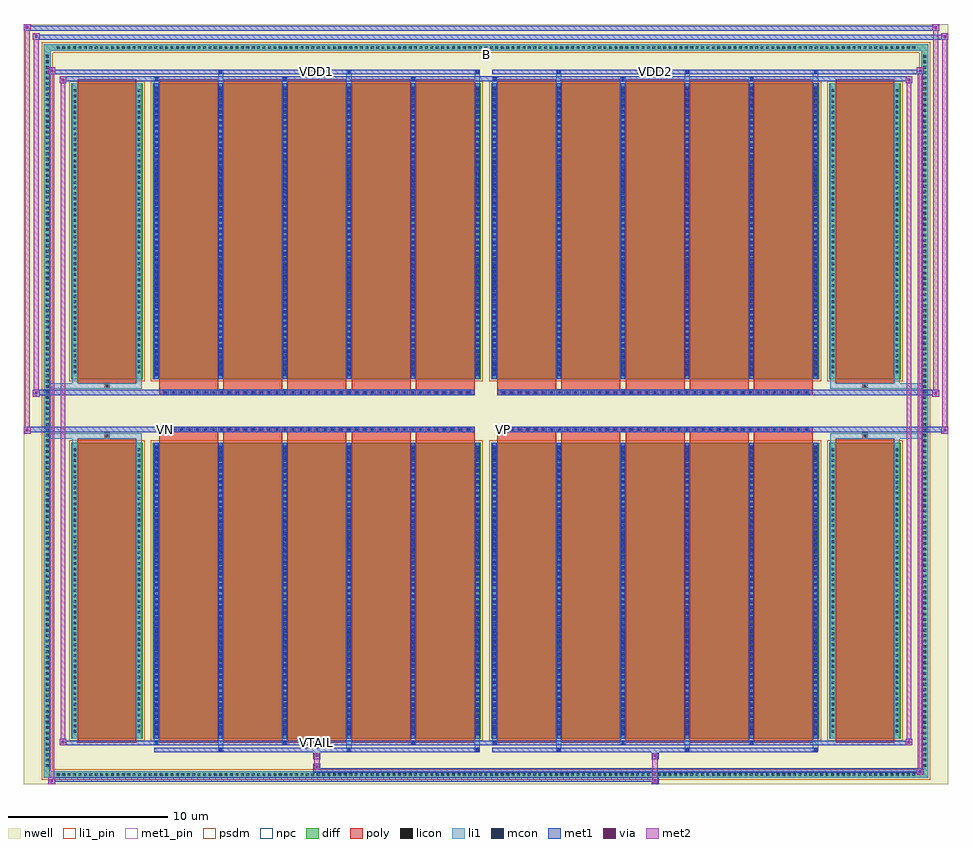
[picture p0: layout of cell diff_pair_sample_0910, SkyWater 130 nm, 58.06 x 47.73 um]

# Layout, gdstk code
import gdstk
lib = gdstk.Library(unit=1e-6, precision=5e-09)
def R(c, l, rs):  # rectangles x0, y0, x1, y1
    for r in rs: c.add(gdstk.rectangle(r[:2], r[2:], *l))
def A(c, l, x, y, w, h, nx, ny, dx, dy):  # array of equal rectangles
    R(c, l, [(x+i*dx, y+j*dy, x+i*dx+w, y+j*dy+h) for i in range(nx) for j in range(ny)])
def P(c, l, *ps):  # polygons
    for p in ps: c.add(gdstk.Polygon(p, *l))
nwell = (64, 20)
diff = (65, 20)
poly = (66, 20)
licon = (66, 44)
li1_pin = (67, 16)
li1 = (67, 20)
mcon = (67, 44)
met1_pin = (68, 16)
met1 = (68, 20)
via = (68, 44)
met2 = (69, 20)
psdm = (94, 20)
npc = (95, 20)

diff_pair_sample_0910 = lib.new_cell('diff_pair_sample_0910')
R(diff_pair_sample_0910, nwell, [(-29.03,-23.43,29.03,24.3), (-26.35,-21.62,-0.01,-0.8), (0.01,-21.62,26.35,-0.8), (-26.35,0.8,-0.01,21.62), (0.01,0.8,26.35,21.62)])
A(diff_pair_sample_0910, diff, -27.065, -23.03, 0.41, 0.41, 159, 2, 0.34, 45.65)
A(diff_pair_sample_0910, diff, -27.76, -22.475, 0.41, 0.41, 1, 132, 0, 0.34)
A(diff_pair_sample_0910, diff, 27.35, -22.475, 0.41, 0.41, 1, 132, 0, 0.34)
R(diff_pair_sample_0910, diff, [(-27.065,-23.03,27.065,-22.62), (-27.76,-22.475,-27.35,22.475), (27.35,-22.475,27.76,22.475), (-26.04,-20.575,-21.56,-1.985), (-20.92,-20.575,-0.32,-1.985), (0.32,-20.575,20.92,-1.985), (21.56,-20.575,26.04,-1.985), (-26.04,1.985,-21.56,20.575), (-20.92,1.985,-0.32,20.575), (0.32,1.985,20.92,20.575), (21.56,1.985,26.04,20.575), (-27.065,22.62,27.065,23.03)])
P(diff_pair_sample_0910, diff, [(27.76,23.03),(-27.76,23.03),(-27.76,-22.62),(-27.35,-22.62),(-27.35,22.62),(27.35,22.62),(27.35,-22.62),(-27.35,-22.62),(-27.76,-22.62),(-27.76,-23.03),(27.76,-23.03)])
A(diff_pair_sample_0910, poly, -20.53, -20.825, 3.7, 19.09, 5, 2, 4.03, 22.56)
A(diff_pair_sample_0910, poly, 0.71, -20.825, 3.7, 19.09, 5, 2, 4.03, 22.56)
A(diff_pair_sample_0910, poly, -20.53, -1.735, 3.7, 0.405, 5, 2, 4.03, 3.065)
A(diff_pair_sample_0910, poly, 0.71, -1.735, 3.7, 0.405, 5, 2, 4.03, 3.065)
A(diff_pair_sample_0910, poly, -20.285, -1.33, 0.33, 0.33, 39, 2, 0.5, 2.33)
A(diff_pair_sample_0910, poly, 0.955, -1.33, 0.33, 0.33, 39, 2, 0.5, 2.33)
R(diff_pair_sample_0910, poly, [(-25.65,-20.825,-21.95,-1.735), (21.95,-20.825,25.65,-1.735), (-23.965,-1.735,-23.635,-1.405), (-23.965,-1.735,-23.635,-1.405), (23.635,-1.735,23.965,-1.405), (23.635,-1.735,23.965,-1.405), (-20.53,-1.33,-0.71,-1), (0.71,-1.33,20.53,-1), (-20.53,1,-0.71,1.33), (0.71,1,20.53,1.33), (-23.965,1.405,-23.635,1.735), (-23.965,1.405,-23.635,1.735), (23.635,1.405,23.965,1.735), (23.635,1.405,23.965,1.735), (-25.65,1.735,-21.95,20.825), (21.95,1.735,25.65,20.825)])
A(diff_pair_sample_0910, licon, -26.945, -22.91, 0.17, 0.17, 159, 2, 0.34, 45.65)
A(diff_pair_sample_0910, licon, -27.64, -22.355, 0.17, 0.17, 1, 132, 0, 0.34)
A(diff_pair_sample_0910, licon, 27.47, -22.355, 0.17, 0.17, 1, 132, 0, 0.34)
A(diff_pair_sample_0910, licon, -25.9, -20.205, 0.17, 0.17, 1, 53, 0, 0.34)
A(diff_pair_sample_0910, licon, -21.87, -20.205, 0.17, 0.17, 1, 53, 0, 0.34)
A(diff_pair_sample_0910, licon, -20.78, -20.205, 0.17, 0.17, 6, 53, 4.03, 0.34)
A(diff_pair_sample_0910, licon, 0.46, -20.205, 0.17, 0.17, 6, 53, 4.03, 0.34)
A(diff_pair_sample_0910, licon, 21.7, -20.205, 0.17, 0.17, 1, 53, 0, 0.34)
A(diff_pair_sample_0910, licon, 25.73, -20.205, 0.17, 0.17, 1, 53, 0, 0.34)
A(diff_pair_sample_0910, licon, -20.205, -1.25, 0.17, 0.17, 39, 2, 0.5, 2.33)
A(diff_pair_sample_0910, licon, 1.035, -1.25, 0.17, 0.17, 39, 2, 0.5, 2.33)
A(diff_pair_sample_0910, licon, -25.9, 2.355, 0.17, 0.17, 1, 53, 0, 0.34)
A(diff_pair_sample_0910, licon, -21.87, 2.355, 0.17, 0.17, 1, 53, 0, 0.34)
A(diff_pair_sample_0910, licon, -20.78, 2.355, 0.17, 0.17, 6, 53, 4.03, 0.34)
A(diff_pair_sample_0910, licon, 0.46, 2.355, 0.17, 0.17, 6, 53, 4.03, 0.34)
A(diff_pair_sample_0910, licon, 21.7, 2.355, 0.17, 0.17, 1, 53, 0, 0.34)
A(diff_pair_sample_0910, licon, 25.73, 2.355, 0.17, 0.17, 1, 53, 0, 0.34)
R(diff_pair_sample_0910, licon, [(-23.885,-1.655,-23.715,-1.485), (23.715,-1.655,23.885,-1.485), (-23.885,1.485,-23.715,1.655), (23.715,1.485,23.885,1.655)])
R(diff_pair_sample_0910, li1_pin, [(-0.25,22.12,0.25,22.62)])
A(diff_pair_sample_0910, li1, -27.025, -22.99, 0.33, 0.33, 159, 2, 0.34, 45.65)
A(diff_pair_sample_0910, li1, -27.72, -22.435, 0.33, 0.33, 1, 132, 0, 0.34)
A(diff_pair_sample_0910, li1, 27.39, -22.435, 0.33, 0.33, 1, 132, 0, 0.34)
A(diff_pair_sample_0910, li1, -16.83, -21.38, 0.33, 0.805, 3, 2, 8.06, 41.955)
A(diff_pair_sample_0910, li1, -16.75, -21.38, 0.17, 0.17, 3, 2, 8.06, 42.59)
A(diff_pair_sample_0910, li1, 4.41, -21.38, 0.33, 0.805, 3, 2, 8.06, 41.955)
A(diff_pair_sample_0910, li1, 4.49, -21.38, 0.17, 0.17, 3, 2, 8.06, 42.59)
A(diff_pair_sample_0910, li1, -20.86, -20.95, 0.33, 0.375, 3, 2, 8.06, 41.525)
A(diff_pair_sample_0910, li1, -20.78, -20.95, 0.17, 0.17, 3, 2, 8.06, 41.73)
A(diff_pair_sample_0910, li1, 0.38, -20.95, 0.33, 0.375, 3, 2, 8.06, 41.525)
A(diff_pair_sample_0910, li1, 0.46, -20.95, 0.17, 0.17, 3, 2, 8.06, 41.73)
A(diff_pair_sample_0910, li1, -20.86, -20.575, 0.33, 18.59, 6, 2, 4.03, 22.56)
A(diff_pair_sample_0910, li1, 0.38, -20.575, 0.33, 18.59, 6, 2, 4.03, 22.56)
A(diff_pair_sample_0910, li1, -20.78, -20.365, 0.17, 0.17, 6, 51, 4.03, 0.36)
A(diff_pair_sample_0910, li1, -20.78, -20.365, 0.17, 18.17, 6, 2, 4.03, 22.56)
A(diff_pair_sample_0910, li1, 0.46, -20.365, 0.17, 0.17, 6, 51, 4.03, 0.36)
A(diff_pair_sample_0910, li1, 0.46, -20.365, 0.17, 18.17, 6, 2, 4.03, 22.56)
A(diff_pair_sample_0910, li1, -25.98, -20.285, 0.33, 0.33, 1, 53, 0, 0.34)
A(diff_pair_sample_0910, li1, -21.95, -20.285, 0.33, 0.33, 1, 53, 0, 0.34)
A(diff_pair_sample_0910, li1, -20.86, -20.285, 0.33, 0.33, 6, 53, 4.03, 0.34)
A(diff_pair_sample_0910, li1, 0.38, -20.285, 0.33, 0.33, 6, 53, 4.03, 0.34)
A(diff_pair_sample_0910, li1, 21.62, -20.285, 0.33, 0.33, 1, 53, 0, 0.34)
A(diff_pair_sample_0910, li1, 25.65, -20.285, 0.33, 0.33, 1, 53, 0, 0.34)
A(diff_pair_sample_0910, li1, -20.285, -1.33, 0.33, 0.33, 39, 2, 0.5, 2.33)
A(diff_pair_sample_0910, li1, 0.955, -1.33, 0.33, 0.33, 39, 2, 0.5, 2.33)
A(diff_pair_sample_0910, li1, -20.78, 2.195, 0.17, 0.17, 6, 51, 4.03, 0.36)
A(diff_pair_sample_0910, li1, 0.46, 2.195, 0.17, 0.17, 6, 51, 4.03, 0.36)
A(diff_pair_sample_0910, li1, -25.98, 2.275, 0.33, 0.33, 1, 53, 0, 0.34)
A(diff_pair_sample_0910, li1, -21.95, 2.275, 0.33, 0.33, 1, 53, 0, 0.34)
A(diff_pair_sample_0910, li1, -20.86, 2.275, 0.33, 0.33, 6, 53, 4.03, 0.34)
A(diff_pair_sample_0910, li1, 0.38, 2.275, 0.33, 0.33, 6, 53, 4.03, 0.34)
A(diff_pair_sample_0910, li1, 21.62, 2.275, 0.33, 0.33, 1, 53, 0, 0.34)
A(diff_pair_sample_0910, li1, 25.65, 2.275, 0.33, 0.33, 1, 53, 0, 0.34)
R(diff_pair_sample_0910, li1, [(-27.76,-23.03,-27.35,-22.62), (-27.76,-23.03,-27.35,-22.62), (-27.35,-23.03,27.35,-22.62), (27.35,-23.03,27.76,-22.62), (27.35,-23.03,27.76,-22.62), (-27.76,-22.62,-27.35,22.62), (27.35,-22.62,27.76,22.62), (-25.98,-20.575,-25.65,-1.985), (-21.95,-20.575,-21.62,-1.985), (21.62,-20.575,21.95,-1.985), (25.65,-20.575,25.98,-1.985), (-25.98,-1.985,-25.65,-1.405), (-21.95,-1.985,-21.62,-1.405), (21.62,-1.985,21.95,-1.405), (25.65,-1.985,25.98,-1.405), (-27.76,-1.735,-23.965,-1.405), (-25.98,-1.735,-23.965,-1.405), (-23.965,-1.735,-23.635,-1.405), (-23.635,-1.735,-21.62,-1.405), (21.62,-1.735,23.635,-1.405), (23.635,-1.735,23.965,-1.405), (23.635,-1.735,27.76,-1.405), (23.965,-1.735,25.98,-1.405), (-27.76,1.405,-23.965,1.735), (-25.98,1.405,-23.965,1.735), (-25.98,1.405,-25.65,1.985), (-23.965,1.405,-23.635,1.735), (-23.635,1.405,-21.62,1.735), (-21.95,1.405,-21.62,1.985), (21.62,1.405,23.635,1.735), (21.62,1.405,21.95,1.985), (23.635,1.405,23.965,1.735), (23.635,1.405,27.76,1.735), (23.965,1.405,25.98,1.735), (25.65,1.405,25.98,1.985), (-25.98,1.985,-25.65,20.575), (-21.95,1.985,-21.62,20.575), (21.62,1.985,21.95,20.575), (25.65,1.985,25.98,20.575), (-27.76,22.62,-27.35,23.03), (-27.76,22.62,-27.35,23.03), (-27.35,22.62,27.35,23.03), (27.35,22.62,27.76,23.03), (27.35,22.62,27.76,23.03)])
A(diff_pair_sample_0910, mcon, -16.75, -21.38, 0.17, 0.17, 3, 2, 8.06, 42.59)
A(diff_pair_sample_0910, mcon, 4.49, -21.38, 0.17, 0.17, 3, 2, 8.06, 42.59)
A(diff_pair_sample_0910, mcon, -20.78, -20.95, 0.17, 0.17, 3, 2, 8.06, 41.73)
A(diff_pair_sample_0910, mcon, 0.46, -20.95, 0.17, 0.17, 3, 2, 8.06, 41.73)
A(diff_pair_sample_0910, mcon, -20.78, -20.365, 0.17, 0.17, 6, 51, 4.03, 0.36)
A(diff_pair_sample_0910, mcon, 0.46, -20.365, 0.17, 0.17, 6, 51, 4.03, 0.36)
A(diff_pair_sample_0910, mcon, -20.205, -1.25, 0.17, 0.17, 39, 2, 0.5, 2.33)
A(diff_pair_sample_0910, mcon, 1.035, -1.25, 0.17, 0.17, 39, 2, 0.5, 2.33)
A(diff_pair_sample_0910, mcon, -20.78, 2.195, 0.17, 0.17, 6, 51, 4.03, 0.36)
A(diff_pair_sample_0910, mcon, 0.46, 2.195, 0.17, 0.17, 6, 51, 4.03, 0.36)
R(diff_pair_sample_0910, met1_pin, [(-10.755,-20.99,-10.485,-20.72), (-20.255,-1.29,-19.985,-1.02), (0.985,-1.29,1.255,-1.02), (-10.755,21.17,-10.485,21.44), (10.485,21.17,10.755,21.44)])
A(diff_pair_sample_0910, met1, -16.81, -21.44, 0.29, 0.29, 3, 2, 8.06, 42.59)
A(diff_pair_sample_0910, met1, 4.43, -21.44, 0.29, 0.29, 3, 2, 8.06, 42.59)
A(diff_pair_sample_0910, met1, -20.84, -21.01, 0.29, 0.29, 3, 2, 8.06, 41.73)
A(diff_pair_sample_0910, met1, 0.4, -21.01, 0.29, 0.29, 3, 2, 8.06, 41.73)
A(diff_pair_sample_0910, met1, -20.84, -20.575, 0.29, 18.59, 6, 2, 4.03, 22.56)
A(diff_pair_sample_0910, met1, 0.4, -20.575, 0.29, 18.59, 6, 2, 4.03, 22.56)
A(diff_pair_sample_0910, met1, -20.84, -20.425, 0.29, 0.29, 6, 51, 4.03, 0.36)
A(diff_pair_sample_0910, met1, 0.4, -20.425, 0.29, 0.29, 6, 51, 4.03, 0.36)
A(diff_pair_sample_0910, met1, -20.265, -1.31, 0.29, 0.29, 39, 2, 0.5, 2.33)
A(diff_pair_sample_0910, met1, 0.975, -1.31, 0.29, 0.29, 39, 2, 0.5, 2.33)
A(diff_pair_sample_0910, met1, -20.84, 2.135, 0.29, 0.29, 6, 51, 4.03, 0.36)
A(diff_pair_sample_0910, met1, 0.4, 2.135, 0.29, 0.29, 6, 51, 4.03, 0.36)
R(diff_pair_sample_0910, met1, [(-27.49,-23.43,-27.06,-23), (10.405,-23.43,10.835,-23), (-27.49,-23.29,10.835,-23), (27.06,-22.86,27.49,-22.43), (-10.835,-22.72,27.49,-22.43), (-10.835,-22.58,-10.405,-22.15), (-10.835,-21.87,-10.405,-21.44), (10.405,-21.87,10.835,-21.44), (-20.84,-21.44,-0.4,-21.15), (0.4,-21.44,20.84,-21.15), (-26.78,-21.01,-26.35,-20.58), (-26.78,-21.01,-20.84,-20.72), (-20.84,-21.01,-0.4,-20.72), (-0.4,-21.01,0.4,-20.72), (0.4,-21.01,20.84,-20.72), (20.84,-21.01,26.78,-20.72), (26.35,-21.01,26.78,-20.58), (-29.03,-1.43,-28.6,-1), (28.6,-1.43,29.03,-1), (-29.03,-1.33,-0.71,-1), (-20.53,-1.33,-0.71,-1), (0.71,-1.33,20.53,-1), (0.71,-1.33,29.03,-1), (-28.46,0.9,-28.03,1.33), (28.03,0.9,28.46,1.33), (-28.46,1,-20.53,1.33), (-20.53,1,-0.71,1.33), (0.71,1,20.53,1.33), (20.53,1,28.46,1.33), (-26.78,20.58,-26.35,21.01), (26.35,20.58,26.78,21.01), (-26.78,20.72,-20.84,21.01), (-20.84,20.72,-0.4,21.01), (-0.4,20.72,0.4,21.01), (0.4,20.72,20.84,21.01), (20.84,20.72,26.78,21.01), (-27.49,21.15,-27.06,21.58), (-27.49,21.15,-20.84,21.44), (-20.84,21.15,-0.4,21.44), (0.4,21.15,20.84,21.44), (20.84,21.15,27.49,21.44), (27.06,21.15,27.49,21.58), (-28.46,23.3,-28.03,23.73), (-28.46,23.3,-26.35,23.63), (-26.35,23.3,26.35,23.63), (26.35,23.3,29.03,23.63), (28.6,23.3,29.03,23.73), (-29.03,23.87,-28.6,24.3), (-29.03,23.87,-26.35,24.2), (-26.35,23.87,26.35,24.2), (26.35,23.87,28.46,24.2), (28.03,23.87,28.46,24.3)])
R(diff_pair_sample_0910, via, [(-27.35,-23.29,-27.2,-23.14), (10.545,-23.29,10.695,-23.14), (27.2,-22.72,27.35,-22.57), (-10.695,-22.44,-10.545,-22.29), (-10.695,-21.73,-10.545,-21.58), (10.545,-21.73,10.695,-21.58), (-26.64,-20.87,-26.49,-20.72), (26.49,-20.87,26.64,-20.72), (-28.89,-1.29,-28.74,-1.14), (28.74,-1.29,28.89,-1.14), (-28.32,1.04,-28.17,1.19), (28.17,1.04,28.32,1.19), (-26.64,20.72,-26.49,20.87), (26.49,20.72,26.64,20.87), (-27.35,21.29,-27.2,21.44), (27.2,21.29,27.35,21.44), (-28.32,23.44,-28.17,23.59), (28.74,23.44,28.89,23.59), (-28.89,24.01,-28.74,24.16), (28.17,24.01,28.32,24.16)])
R(diff_pair_sample_0910, met2, [(-27.49,-23.43,-27.06,-23), (-27.42,-23.43,-27.13,21.58), (-27.13,-23.43,-27.06,-23), (-27.44,-23.38,-27.11,-23.05), (10.455,-23.38,10.785,-23.05), (10.455,-23.05,10.785,-21.82), (27.06,-22.86,27.49,-22.43), (27.13,-22.86,27.42,21.58), (27.42,-22.86,27.49,-22.43), (27.11,-22.81,27.44,-22.48), (-10.785,-22.53,-10.455,-22.2), (-10.785,-22.2,-10.455,-21.82), (-10.785,-21.82,-10.455,-21.49), (10.455,-21.82,10.785,-21.49), (-26.78,-21.01,-26.35,-20.58), (-26.71,-21.01,-26.42,21.01), (-26.42,-21.01,-26.35,-20.58), (26.35,-21.01,26.78,-20.58), (26.42,-21.01,26.71,21.01), (26.71,-21.01,26.78,-20.58), (-26.73,-20.96,-26.4,-20.63), (26.4,-20.96,26.73,-20.63), (-29.03,-1.43,-28.6,-1), (-28.98,-1.43,-28.65,24.3), (-28.65,-1.43,-28.6,-1), (28.6,-1.43,29.03,-1), (28.65,-1.43,28.98,23.73), (28.98,-1.43,29.03,-1), (-28.98,-1.38,-28.65,-1.05), (28.65,-1.38,28.98,-1.05), (-28.46,0.9,-28.03,1.33), (-28.41,0.9,-28.08,23.73), (-28.08,0.9,-28.03,1.33), (28.03,0.9,28.46,1.33), (28.08,0.9,28.41,24.3), (28.41,0.9,28.46,1.33), (-28.41,0.95,-28.08,1.28), (28.08,0.95,28.41,1.28), (-26.78,20.58,-26.35,21.01), (-26.42,20.58,-26.35,21.01), (26.35,20.58,26.78,21.01), (26.71,20.58,26.78,21.01), (-26.73,20.63,-26.4,20.96), (26.4,20.63,26.73,20.96), (-27.49,21.15,-27.06,21.58), (-27.13,21.15,-27.06,21.58), (27.06,21.15,27.49,21.58), (27.42,21.15,27.49,21.58), (-27.44,21.2,-27.11,21.53), (27.11,21.2,27.44,21.53), (-28.46,23.3,-28.03,23.73), (-28.08,23.3,-28.03,23.73), (28.6,23.3,29.03,23.73), (28.98,23.3,29.03,23.73), (-28.41,23.35,-28.08,23.68), (28.65,23.35,28.98,23.68), (-29.03,23.87,-28.6,24.3), (-28.65,23.87,-28.6,24.3), (28.03,23.87,28.46,24.3), (28.41,23.87,28.46,24.3), (-28.98,23.92,-28.65,24.25), (28.08,23.92,28.41,24.25)])
R(diff_pair_sample_0910, psdm, [(-26.17,-20.705,-21.43,-1.855), (-21.05,-20.705,-0.19,-1.855), (0.19,-20.705,21.05,-1.855), (21.43,-20.705,26.17,-1.855), (-26.17,1.855,-21.43,20.705), (-21.05,1.855,-0.19,20.705), (0.19,1.855,21.05,20.705), (21.43,1.855,26.17,20.705)])
P(diff_pair_sample_0910, psdm, [(27.89,23.16),(-27.89,23.16),(-27.89,-22.49),(-27.22,-22.49),(-27.22,22.49),(27.22,22.49),(27.22,-22.49),(-27.22,-22.49),(-27.89,-22.49),(-27.89,-23.16),(27.89,-23.16)])
A(diff_pair_sample_0910, npc, -20.305, -1.35, 0.37, 0.37, 39, 2, 0.5, 2.33)
A(diff_pair_sample_0910, npc, 0.935, -1.35, 0.37, 0.37, 39, 2, 0.5, 2.33)
R(diff_pair_sample_0910, npc, [(-23.985,-1.755,-23.615,-1.385), (23.615,-1.755,23.985,-1.385), (-20.305,-1.35,-19.435,-0.98), (-20.305,-1.35,-19.435,-0.98), (-19.805,-1.35,-18.935,-0.98), (-19.805,-1.35,-18.935,-0.98), (-19.305,-1.35,-18.435,-0.98), (-19.305,-1.35,-18.435,-0.98), (-18.805,-1.35,-17.935,-0.98), (-18.805,-1.35,-17.935,-0.98), (-18.305,-1.35,-17.435,-0.98), (-18.305,-1.35,-17.435,-0.98), (-17.805,-1.35,-16.935,-0.98), (-17.805,-1.35,-16.935,-0.98), (-17.305,-1.35,-16.435,-0.98), (-17.305,-1.35,-16.435,-0.98), (-16.805,-1.35,-15.935,-0.98), (-16.805,-1.35,-15.935,-0.98), (-16.305,-1.35,-15.435,-0.98), (-16.305,-1.35,-15.435,-0.98), (-15.805,-1.35,-14.935,-0.98), (-15.805,-1.35,-14.935,-0.98), (-15.305,-1.35,-14.435,-0.98), (-15.305,-1.35,-14.435,-0.98), (-14.805,-1.35,-13.935,-0.98), (-14.805,-1.35,-13.935,-0.98), (-14.305,-1.35,-13.435,-0.98), (-14.305,-1.35,-13.435,-0.98), (-13.805,-1.35,-12.935,-0.98), (-13.805,-1.35,-12.935,-0.98), (-13.305,-1.35,-12.435,-0.98), (-13.305,-1.35,-12.435,-0.98), (-12.805,-1.35,-11.935,-0.98), (-12.805,-1.35,-11.935,-0.98), (-12.305,-1.35,-11.435,-0.98), (-12.305,-1.35,-11.435,-0.98), (-11.805,-1.35,-10.935,-0.98), (-11.805,-1.35,-10.935,-0.98), (-11.305,-1.35,-10.435,-0.98), (-11.305,-1.35,-10.435,-0.98), (-10.805,-1.35,-9.935,-0.98), (-10.805,-1.35,-9.935,-0.98), (-10.305,-1.35,-9.435,-0.98), (-10.305,-1.35,-9.435,-0.98), (-9.805,-1.35,-8.935,-0.98), (-9.805,-1.35,-8.935,-0.98), (-9.305,-1.35,-8.435,-0.98), (-9.305,-1.35,-8.435,-0.98), (-8.805,-1.35,-7.935,-0.98), (-8.805,-1.35,-7.935,-0.98), (-8.305,-1.35,-7.435,-0.98), (-8.305,-1.35,-7.435,-0.98), (-7.805,-1.35,-6.935,-0.98), (-7.805,-1.35,-6.935,-0.98), (-7.305,-1.35,-6.435,-0.98), (-7.305,-1.35,-6.435,-0.98), (-6.805,-1.35,-5.935,-0.98), (-6.805,-1.35,-5.935,-0.98), (-6.305,-1.35,-5.435,-0.98), (-6.305,-1.35,-5.435,-0.98), (-5.805,-1.35,-4.935,-0.98), (-5.805,-1.35,-4.935,-0.98), (-5.305,-1.35,-4.435,-0.98), (-5.305,-1.35,-4.435,-0.98), (-4.805,-1.35,-3.935,-0.98), (-4.805,-1.35,-3.935,-0.98), (-4.305,-1.35,-3.435,-0.98), (-4.305,-1.35,-3.435,-0.98), (-3.805,-1.35,-2.935,-0.98), (-3.805,-1.35,-2.935,-0.98), (-3.305,-1.35,-2.435,-0.98), (-3.305,-1.35,-2.435,-0.98), (-2.805,-1.35,-1.935,-0.98), (-2.805,-1.35,-1.935,-0.98), (-2.305,-1.35,-1.435,-0.98), (-2.305,-1.35,-1.435,-0.98), (-1.805,-1.35,-0.935,-0.98), (-1.805,-1.35,-0.935,-0.98), (0.935,-1.35,1.805,-0.98), (0.935,-1.35,1.805,-0.98), (1.435,-1.35,2.305,-0.98), (1.435,-1.35,2.305,-0.98), (1.935,-1.35,2.805,-0.98), (1.935,-1.35,2.805,-0.98), (2.435,-1.35,3.305,-0.98), (2.435,-1.35,3.305,-0.98), (2.935,-1.35,3.805,-0.98), (2.935,-1.35,3.805,-0.98), (3.435,-1.35,4.305,-0.98), (3.435,-1.35,4.305,-0.98), (3.935,-1.35,4.805,-0.98), (3.935,-1.35,4.805,-0.98), (4.435,-1.35,5.305,-0.98), (4.435,-1.35,5.305,-0.98), (4.935,-1.35,5.805,-0.98), (4.935,-1.35,5.805,-0.98), (5.435,-1.35,6.305,-0.98), (5.435,-1.35,6.305,-0.98), (5.935,-1.35,6.805,-0.98), (5.935,-1.35,6.805,-0.98), (6.435,-1.35,7.305,-0.98), (6.435,-1.35,7.305,-0.98), (6.935,-1.35,7.805,-0.98), (6.935,-1.35,7.805,-0.98), (7.435,-1.35,8.305,-0.98), (7.435,-1.35,8.305,-0.98), (7.935,-1.35,8.805,-0.98), (7.935,-1.35,8.805,-0.98), (8.435,-1.35,9.305,-0.98), (8.435,-1.35,9.305,-0.98), (8.935,-1.35,9.805,-0.98), (8.935,-1.35,9.805,-0.98), (9.435,-1.35,10.305,-0.98), (9.435,-1.35,10.305,-0.98), (9.935,-1.35,10.805,-0.98), (9.935,-1.35,10.805,-0.98), (10.435,-1.35,11.305,-0.98), (10.435,-1.35,11.305,-0.98), (10.935,-1.35,11.805,-0.98), (10.935,-1.35,11.805,-0.98), (11.435,-1.35,12.305,-0.98), (11.435,-1.35,12.305,-0.98), (11.935,-1.35,12.805,-0.98), (11.935,-1.35,12.805,-0.98), (12.435,-1.35,13.305,-0.98), (12.435,-1.35,13.305,-0.98), (12.935,-1.35,13.805,-0.98), (12.935,-1.35,13.805,-0.98), (13.435,-1.35,14.305,-0.98), (13.435,-1.35,14.305,-0.98), (13.935,-1.35,14.805,-0.98), (13.935,-1.35,14.805,-0.98), (14.435,-1.35,15.305,-0.98), (14.435,-1.35,15.305,-0.98), (14.935,-1.35,15.805,-0.98), (14.935,-1.35,15.805,-0.98), (15.435,-1.35,16.305,-0.98), (15.435,-1.35,16.305,-0.98), (15.935,-1.35,16.805,-0.98), (15.935,-1.35,16.805,-0.98), (16.435,-1.35,17.305,-0.98), (16.435,-1.35,17.305,-0.98), (16.935,-1.35,17.805,-0.98), (16.935,-1.35,17.805,-0.98), (17.435,-1.35,18.305,-0.98), (17.435,-1.35,18.305,-0.98), (17.935,-1.35,18.805,-0.98), (17.935,-1.35,18.805,-0.98), (18.435,-1.35,19.305,-0.98), (18.435,-1.35,19.305,-0.98), (18.935,-1.35,19.805,-0.98), (18.935,-1.35,19.805,-0.98), (19.435,-1.35,20.305,-0.98), (19.435,-1.35,20.305,-0.98), (-20.305,0.98,-19.435,1.35), (-20.305,0.98,-19.435,1.35), (-19.805,0.98,-18.935,1.35), (-19.805,0.98,-18.935,1.35), (-19.305,0.98,-18.435,1.35), (-19.305,0.98,-18.435,1.35), (-18.805,0.98,-17.935,1.35), (-18.805,0.98,-17.935,1.35), (-18.305,0.98,-17.435,1.35), (-18.305,0.98,-17.435,1.35), (-17.805,0.98,-16.935,1.35), (-17.805,0.98,-16.935,1.35), (-17.305,0.98,-16.435,1.35), (-17.305,0.98,-16.435,1.35), (-16.805,0.98,-15.935,1.35), (-16.805,0.98,-15.935,1.35), (-16.305,0.98,-15.435,1.35), (-16.305,0.98,-15.435,1.35), (-15.805,0.98,-14.935,1.35), (-15.805,0.98,-14.935,1.35), (-15.305,0.98,-14.435,1.35), (-15.305,0.98,-14.435,1.35), (-14.805,0.98,-13.935,1.35), (-14.805,0.98,-13.935,1.35), (-14.305,0.98,-13.435,1.35), (-14.305,0.98,-13.435,1.35), (-13.805,0.98,-12.935,1.35), (-13.805,0.98,-12.935,1.35), (-13.305,0.98,-12.435,1.35), (-13.305,0.98,-12.435,1.35), (-12.805,0.98,-11.935,1.35), (-12.805,0.98,-11.935,1.35), (-12.305,0.98,-11.435,1.35), (-12.305,0.98,-11.435,1.35), (-11.805,0.98,-10.935,1.35), (-11.805,0.98,-10.935,1.35), (-11.305,0.98,-10.435,1.35), (-11.305,0.98,-10.435,1.35), (-10.805,0.98,-9.935,1.35), (-10.805,0.98,-9.935,1.35), (-10.305,0.98,-9.435,1.35), (-10.305,0.98,-9.435,1.35), (-9.805,0.98,-8.935,1.35), (-9.805,0.98,-8.935,1.35), (-9.305,0.98,-8.435,1.35), (-9.305,0.98,-8.435,1.35), (-8.805,0.98,-7.935,1.35), (-8.805,0.98,-7.935,1.35), (-8.305,0.98,-7.435,1.35), (-8.305,0.98,-7.435,1.35), (-7.805,0.98,-6.935,1.35), (-7.805,0.98,-6.935,1.35), (-7.305,0.98,-6.435,1.35), (-7.305,0.98,-6.435,1.35), (-6.805,0.98,-5.935,1.35), (-6.805,0.98,-5.935,1.35), (-6.305,0.98,-5.435,1.35), (-6.305,0.98,-5.435,1.35), (-5.805,0.98,-4.935,1.35), (-5.805,0.98,-4.935,1.35), (-5.305,0.98,-4.435,1.35), (-5.305,0.98,-4.435,1.35), (-4.805,0.98,-3.935,1.35), (-4.805,0.98,-3.935,1.35), (-4.305,0.98,-3.435,1.35), (-4.305,0.98,-3.435,1.35), (-3.805,0.98,-2.935,1.35), (-3.805,0.98,-2.935,1.35), (-3.305,0.98,-2.435,1.35), (-3.305,0.98,-2.435,1.35), (-2.805,0.98,-1.935,1.35), (-2.805,0.98,-1.935,1.35), (-2.305,0.98,-1.435,1.35), (-2.305,0.98,-1.435,1.35), (-1.805,0.98,-0.935,1.35), (-1.805,0.98,-0.935,1.35), (0.935,0.98,1.805,1.35), (0.935,0.98,1.805,1.35), (1.435,0.98,2.305,1.35), (1.435,0.98,2.305,1.35), (1.935,0.98,2.805,1.35), (1.935,0.98,2.805,1.35), (2.435,0.98,3.305,1.35), (2.435,0.98,3.305,1.35), (2.935,0.98,3.805,1.35), (2.935,0.98,3.805,1.35), (3.435,0.98,4.305,1.35), (3.435,0.98,4.305,1.35), (3.935,0.98,4.805,1.35), (3.935,0.98,4.805,1.35), (4.435,0.98,5.305,1.35), (4.435,0.98,5.305,1.35), (4.935,0.98,5.805,1.35), (4.935,0.98,5.805,1.35), (5.435,0.98,6.305,1.35), (5.435,0.98,6.305,1.35), (5.935,0.98,6.805,1.35), (5.935,0.98,6.805,1.35), (6.435,0.98,7.305,1.35), (6.435,0.98,7.305,1.35), (6.935,0.98,7.805,1.35), (6.935,0.98,7.805,1.35), (7.435,0.98,8.305,1.35), (7.435,0.98,8.305,1.35), (7.935,0.98,8.805,1.35), (7.935,0.98,8.805,1.35), (8.435,0.98,9.305,1.35), (8.435,0.98,9.305,1.35), (8.935,0.98,9.805,1.35), (8.935,0.98,9.805,1.35), (9.435,0.98,10.305,1.35), (9.435,0.98,10.305,1.35), (9.935,0.98,10.805,1.35), (9.935,0.98,10.805,1.35), (10.435,0.98,11.305,1.35), (10.435,0.98,11.305,1.35), (10.935,0.98,11.805,1.35), (10.935,0.98,11.805,1.35), (11.435,0.98,12.305,1.35), (11.435,0.98,12.305,1.35), (11.935,0.98,12.805,1.35), (11.935,0.98,12.805,1.35), (12.435,0.98,13.305,1.35), (12.435,0.98,13.305,1.35), (12.935,0.98,13.805,1.35), (12.935,0.98,13.805,1.35), (13.435,0.98,14.305,1.35), (13.435,0.98,14.305,1.35), (13.935,0.98,14.805,1.35), (13.935,0.98,14.805,1.35), (14.435,0.98,15.305,1.35), (14.435,0.98,15.305,1.35), (14.935,0.98,15.805,1.35), (14.935,0.98,15.805,1.35), (15.435,0.98,16.305,1.35), (15.435,0.98,16.305,1.35), (15.935,0.98,16.805,1.35), (15.935,0.98,16.805,1.35), (16.435,0.98,17.305,1.35), (16.435,0.98,17.305,1.35), (16.935,0.98,17.805,1.35), (16.935,0.98,17.805,1.35), (17.435,0.98,18.305,1.35), (17.435,0.98,18.305,1.35), (17.935,0.98,18.805,1.35), (17.935,0.98,18.805,1.35), (18.435,0.98,19.305,1.35), (18.435,0.98,19.305,1.35), (18.935,0.98,19.805,1.35), (18.935,0.98,19.805,1.35), (19.435,0.98,20.305,1.35), (19.435,0.98,20.305,1.35), (-23.985,1.385,-23.615,1.755), (23.615,1.385,23.985,1.755)])
diff_pair_sample_0910.add(gdstk.Label('VTAIL', (-10.62,-20.855), layer=68, texttype=5))
diff_pair_sample_0910.add(gdstk.Label('VN', (-20.12,-1.155), layer=68, texttype=5))
diff_pair_sample_0910.add(gdstk.Label('VP', (1.12,-1.155), layer=68, texttype=5))
diff_pair_sample_0910.add(gdstk.Label('B', (0,22.37), layer=67, texttype=5))
diff_pair_sample_0910.add(gdstk.Label('VDD2', (10.62,21.305), layer=68, texttype=5))
diff_pair_sample_0910.add(gdstk.Label('VDD1', (-10.62,21.305), layer=68, texttype=5))

lib.write_gds('diff_pair_sample_0910.gds')
